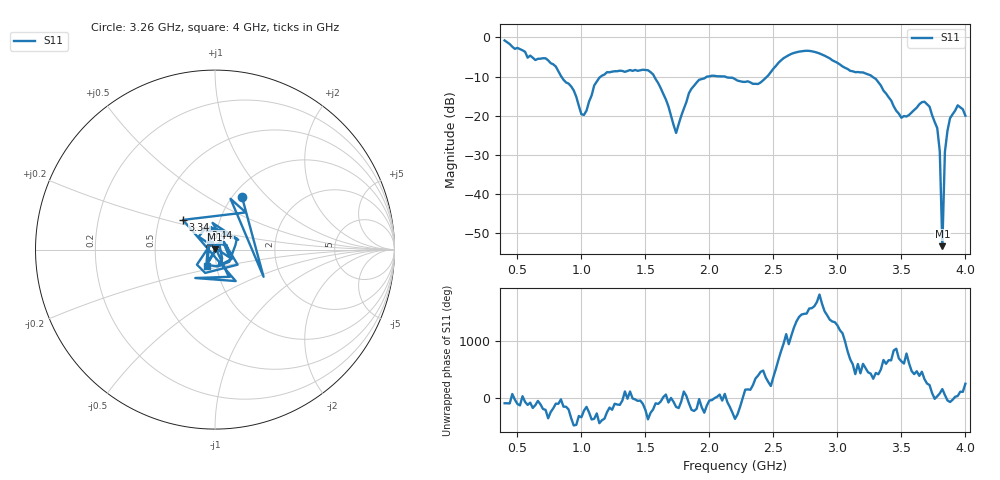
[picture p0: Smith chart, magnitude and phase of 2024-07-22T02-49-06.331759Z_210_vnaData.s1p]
!Created with skrf (http://scikit-rf.org).
# Hz S RI R 50.0
!freq ReS11 ImS11
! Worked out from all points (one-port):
!   181 points, 400 MHz to 4 GHz, reference 50 ohm
!   lowest |S11| = -53.3 dB at 3.82 GHz (marker M1), VSWR 1.00, Z = 49.8 + j0.112 ohm
!   |S11| at or under -10 dB: 1.57 GHz to 1.98 GHz (409.9 MHz wide, 23.1 % of centre); 2.124 GHz to 2.45 GHz (325.7 MHz wide, 14.2 % of centre); 3.273 GHz to end of sweep (the widest 3 of 4)
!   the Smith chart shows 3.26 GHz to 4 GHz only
!   S11 on the Smith chart (normalised r, x): 3.26 GHz: 1.11, +0.72; 3.34 GHz: 0.66, +0.23; 3.44 GHz: 0.88, +0.22; 4 GHz: 0.90, -0.16
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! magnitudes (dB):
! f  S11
! 400 MHz  -0.8
! 720 MHz  -5.3
! 860 MHz  -10.8
! 1.02 GHz  -19.8
! 1.14 GHz  -10.3
! 1.3 GHz  -8.5
! 1.56 GHz  -9.4
! 1.74 GHz  -24.4
! 1.76 GHz  -22.1
! 1.84 GHz  -14.2
! 1.92 GHz  -10.8
! 2.2 GHz  -10.6
! 2.38 GHz  -11.9
! 2.66 GHz  -3.9
! 2.84 GHz  -3.8
! 3.1 GHz  -8.5
! 3.26 GHz  -9.7
! 3.34 GHz  -12.3
! 3.44 GHz  -17.6
! 3.56 GHz  -19.8
! 3.68 GHz  -16.4
! 3.78 GHz  -23.1
! 3.8 GHz  -29.1
! 3.82 GHz  -53.3
! 3.84 GHz  -29.2
! 3.86 GHz  -23.8
! 3.94 GHz  -17.3
! 4 GHz  -20.0
